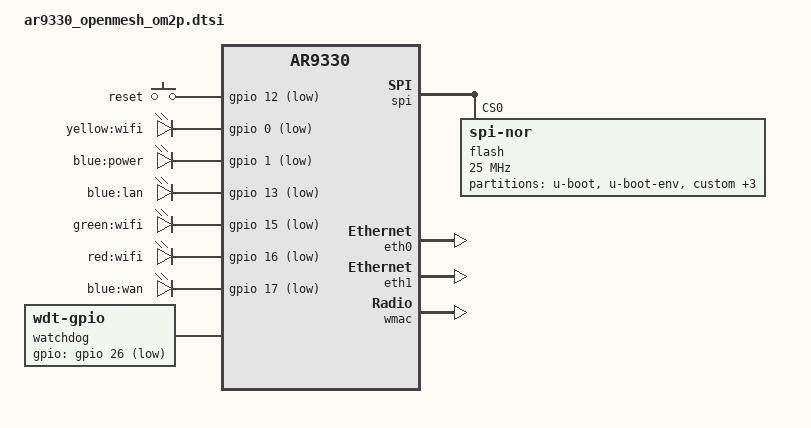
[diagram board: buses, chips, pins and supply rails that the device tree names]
// SPDX-License-Identifier: GPL-2.0-or-later OR MIT

#include "ar9330.dtsi"

#include <dt-bindings/gpio/gpio.h>
#include <dt-bindings/input/input.h>

/ {
	chosen {
		/delete-property/ bootargs;
	};

	aliases {
		led-boot = &led_power_blue;
		led-failsafe = &led_power_blue;
		led-running = &led_power_blue;
		led-upgrade = &led_power_blue;
		label-mac-device = &eth1;
	};

	keys {
		compatible = "gpio-keys";

		reset {
			label = "reset";
			linux,code = <KEY_RESTART>;
			gpios = <&gpio 12 GPIO_ACTIVE_LOW>;
		};
	};

	leds {
		compatible = "gpio-leds";

		pinctrl-names = "default";
		pinctrl-0 = <&switch_led_disable_pins>;

		wifi_yellow {
			label = "yellow:wifi";
			gpios = <&gpio 0 GPIO_ACTIVE_LOW>;
		};

		led_power_blue: power_blue {
			label = "blue:power";
			gpios = <&gpio 1 GPIO_ACTIVE_LOW>;
			default-state = "on";
		};

		lan_blue {
			label = "blue:lan";
			gpios = <&gpio 13 GPIO_ACTIVE_LOW>;
		};

		wifi_green {
			label = "green:wifi";
			gpios = <&gpio 15 GPIO_ACTIVE_LOW>;
			linux,default-trigger = "phy0tpt";
		};

		wifi_red {
			label = "red:wifi";
			gpios = <&gpio 16 GPIO_ACTIVE_LOW>;
		};

		wan_blue {
			label = "blue:wan";
			gpios = <&gpio 17 GPIO_ACTIVE_LOW>;
		};
	};

	watchdog {
		compatible = "linux,wdt-gpio";
		gpios = <&gpio 26 GPIO_ACTIVE_LOW>;
		hw_algo = "toggle";
		/* hw_margin_ms is actually 300s but driver limits it to 60s */
		hw_margin_ms = <60000>;
		always-running;
	};
};

&spi {
	status = "okay";

	flash@0 {
		compatible = "jedec,spi-nor";
		reg = <0>;
		spi-max-frequency = <25000000>;

		/* partitions are passed via bootloader */
		partitions {
			compatible = "fixed-partitions";
			#address-cells = <1>;
			#size-cells = <1>;

			partition@0 {
				label = "u-boot";
				reg = <0x000000 0x040000>;
				read-only;
			};

			partition@40000 {
				label = "u-boot-env";
				reg = <0x040000 0x040000>;
			};

			partition@80000 {
				label = "custom";
				reg = <0x080000 0x140000>;
				read-only;
			};

			partition@1c0000 {
				label = "inactive";
				reg = <0x1c0000 0x700000>;
			};

			partition@8c0000 {
				label = "inactive2";
				reg = <0x8c0000 0x700000>;
			};

			art: partition@fc0000 {
				label = "ART";
				reg = <0xfc0000 0x040000>;
				read-only;
			};
		};
	};
};

&eth0 {
	status = "okay";

	mtd-mac-address = <&art 0x6>;
};

&eth1 {
	status = "okay";

	mtd-mac-address = <&art 0x0>;
};

&wmac {
	status = "okay";

	mtd-cal-data = <&art 0x1000>;
};
